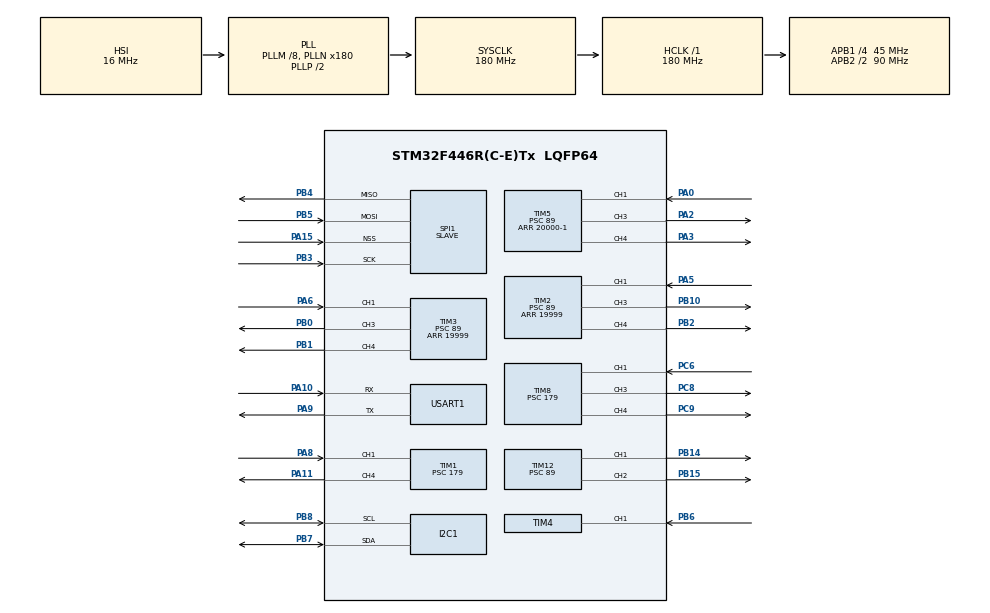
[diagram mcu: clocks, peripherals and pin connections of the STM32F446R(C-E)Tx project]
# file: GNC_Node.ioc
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FREERTOS.Tasks01=getPWM,24,256,getPWMTask,Default,NULL,Dynamic,NULL,NULL;BNOAccel,8,128,BNOAccelRun,Default,NULL,Dynamic,NULL,NULL;Print,9,256,PrintDebug,Default,NULL,Dynamic,NULL,NULL
I2C1.I2C_Mode=I2C_Fast
Mcu.Family=STM32F4
Mcu.Name=STM32F446R(C-E)Tx
Mcu.Package=LQFP64
NVIC.PriorityGroup=NVIC_PRIORITYGROUP_4
NVIC.SPI1_IRQn=true\:5\:0\:false\:false\:true\:true\:true\:true\:true
NVIC.TIM1_CC_IRQn=true\:5\:0\:false\:false\:true\:true\:true\:true\:true
NVIC.TIM4_IRQn=true\:5\:0\:false\:false\:true\:true\:true\:true\:true
PA0-WKUP.Signal=S_TIM5_CH1
PA1.Signal=S_TIM5_CH2
PA10.Mode=Asynchronous
PA10.Signal=USART1_RX
PA11.Signal=S_TIM1_CH4
PA13.Mode=Serial_Wire
PA13.Signal=SYS_JTMS-SWDIO
PA14.Mode=Serial_Wire
PA14.Signal=SYS_JTCK-SWCLK
PA15.Mode=NSS_Signal_Hard_Input
PA15.Signal=SPI1_NSS
PA2.Signal=S_TIM5_CH3
PA3.Signal=S_TIM5_CH4
PA5.Signal=S_TIM2_CH1_ETR
PA6.Signal=S_TIM3_CH1
PA7.Signal=S_TIM3_CH2
PA8.Signal=S_TIM1_CH1
PA9.Mode=Asynchronous
PA9.Signal=USART1_TX
PB0.Signal=S_TIM3_CH3
PB1.Signal=S_TIM3_CH4
PB10.Signal=S_TIM2_CH3
PB14.Signal=S_TIM12_CH1
PB15.Signal=S_TIM12_CH2
PB2.Signal=S_TIM2_CH4
PB3.Mode=Full_Duplex_Slave
PB3.Signal=SPI1_SCK
PB4.Mode=Full_Duplex_Slave
PB4.Signal=SPI1_MISO
PB5.Mode=Full_Duplex_Slave
PB5.Signal=SPI1_MOSI
PB6.Signal=S_TIM4_CH1
PB7.Mode=I2C
PB7.Signal=I2C1_SDA
PB8.Mode=I2C
PB8.Signal=I2C1_SCL
PB9.Signal=S_TIM2_CH2
PC14-OSC32_IN.Mode=LSE-External-Oscillator
PC14-OSC32_IN.Signal=RCC_OSC32_IN
PC15-OSC32_OUT.Mode=LSE-External-Oscillator
PC15-OSC32_OUT.Signal=RCC_OSC32_OUT
PC6.Signal=S_TIM8_CH1
PC8.Signal=S_TIM8_CH3
PC9.Signal=S_TIM8_CH4
PH0-OSC_IN.Mode=HSE-External-Oscillator
PH0-OSC_IN.Signal=RCC_OSC_IN
PH1-OSC_OUT.Mode=HSE-External-Oscillator
PH1-OSC_OUT.Signal=RCC_OSC_OUT
ProjectManager.HeapSize=0x200
ProjectManager.StackSize=0x400
ProjectManager.TargetToolchain=STM32CubeIDE
RCC.AHBFreq_Value=180000000
RCC.APB1CLKDivider=RCC_HCLK_DIV4
RCC.APB1Freq_Value=45000000
RCC.APB1TimFreq_Value=90000000
RCC.APB2CLKDivider=RCC_HCLK_DIV2
RCC.APB2Freq_Value=90000000
RCC.APB2TimFreq_Value=180000000
RCC.CortexFreq_Value=180000000
RCC.HCLKFreq_Value=180000000
RCC.PLLM=15
RCC.PLLN=216
RCC.PLLSourceVirtual=RCC_PLLSOURCE_HSE
RCC.SYSCLKFreq_VALUE=180000000
RCC.SYSCLKSource=RCC_SYSCLKSOURCE_PLLCLK
RCC.USBFreq_Value=180000000
RCC.VCOOutputFreq_Value=360000000
SH.S_TIM12_CH1.0=TIM12_CH1,PWM Generation1 CH1
SH.S_TIM12_CH2.0=TIM12_CH2,PWM Generation2 CH2
SH.S_TIM1_CH1.0=TIM1_CH1,Input_Capture1_from_TI1
SH.S_TIM1_CH4.0=TIM1_CH4,PWM Generation4 CH4
SH.S_TIM2_CH1_ETR.0=TIM2_CH1,PWM_Input_1
SH.S_TIM2_CH2.0=TIM2_CH2
SH.S_TIM2_CH3.0=TIM2_CH3,PWM Generation3 CH3
SH.S_TIM2_CH4.0=TIM2_CH4,PWM Generation4 CH4
SH.S_TIM3_CH1.0=TIM3_CH1,PWM_Input_1
SH.S_TIM3_CH2.0=TIM3_CH2
SH.S_TIM3_CH3.0=TIM3_CH3,PWM Generation3 CH3
SH.S_TIM3_CH4.0=TIM3_CH4,PWM Generation4 CH4
SH.S_TIM4_CH1.0=TIM4_CH1,Input_Capture1_from_TI1
SH.S_TIM5_CH1.0=TIM5_CH1,PWM_Input_1
SH.S_TIM5_CH2.0=TIM5_CH2
SH.S_TIM5_CH3.0=TIM5_CH3,PWM Generation3 CH3
SH.S_TIM5_CH4.0=TIM5_CH4,PWM Generation4 CH4
SH.S_TIM8_CH1.0=TIM8_CH1,PWM_Input_1
SH.S_TIM8_CH3.0=TIM8_CH3,PWM Generation3 CH3
SH.S_TIM8_CH4.0=TIM8_CH4,PWM Generation4 CH4
SPI1.CLKPhase=SPI_PHASE_2EDGE
SPI1.Direction=SPI_DIRECTION_2LINES
SPI1.Mode=SPI_MODE_SLAVE
SPI1.TIMode=SPI_TIMODE_DISABLE
SPI1.VirtualNSS=VM_NSSHARD
SPI1.VirtualType=VM_SLAVE
TIM1.Channel-Input_Capture1_from_TI1=TIM_CHANNEL_1
TIM1.Channel-PWM\ Generation4\ CH4=TIM_CHANNEL_4
TIM1.Period=19999
TIM1.Prescaler=179
TIM12.Channel-PWM\ Generation1\ CH1=TIM_CHANNEL_1
TIM12.Channel-PWM\ Generation2\ CH2=TIM_CHANNEL_2
TIM12.Period=19999
TIM12.Prescaler=89
TIM2.Channel-PWM\ Generation3\ CH3=TIM_CHANNEL_3
TIM2.Channel-PWM\ Generation4\ CH4=TIM_CHANNEL_4
TIM2.Period=19999
TIM2.Prescaler=89
TIM3.Channel-PWM\ Generation3\ CH3=TIM_CHANNEL_3
TIM3.Channel-PWM\ Generation4\ CH4=TIM_CHANNEL_4
TIM3.Period=19999
TIM3.Prescaler=89
TIM4.Channel-Input_Capture1_from_TI1=TIM_CHANNEL_1
TIM4.Period=19999
TIM4.Prescaler=89
TIM5.Channel-PWM\ Generation3\ CH3=TIM_CHANNEL_3
TIM5.Channel-PWM\ Generation4\ CH4=TIM_CHANNEL_4
TIM5.Period=20000-1
TIM5.Prescaler=89
TIM8.Channel-PWM\ Generation3\ CH3=TIM_CHANNEL_3
TIM8.Channel-PWM\ Generation4\ CH4=TIM_CHANNEL_4
TIM8.Prescaler=179
USART1.VirtualMode=VM_ASYNC
VP_FREERTOS_VS_CMSIS_V2.Mode=CMSIS_V2
VP_TIM12_VS_ClockSourceINT.Mode=Internal
VP_TIM1_VS_ClockSourceINT.Mode=Internal
VP_TIM2_VS_ClockSourceINT.Mode=Internal
VP_TIM3_VS_ClockSourceINT.Mode=Internal
VP_TIM4_VS_ClockSourceINT.Mode=Internal
VP_TIM5_VS_ClockSourceINT.Mode=Internal
VP_TIM8_VS_ClockSourceINT.Mode=Internal
board=custom

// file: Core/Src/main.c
/* USER CODE BEGIN Header */
/**
  ******************************************************************************
  * @file           : main.c
  * @brief          : Main program body
  ******************************************************************************
  * @attention
  *
  * Copyright (c) 2026 STMicroelectronics.
  * All rights reserved.
  *
  * This software is licensed under terms that can be found in the LICENSE file
  * in the root directory of this software component.
  * If no LICENSE file comes with this software, it is provided AS-IS.
  *
  ******************************************************************************
  */
/* USER CODE END Header */
#include "main.h"
#include "cmsis_os.h"
#include "i2c.h"
#include "spi.h"
#include "tim.h"
#include "usart.h"
#include "gpio.h"

/* USER CODE BEGIN Includes */
#include <stdlib.h>
#include <stdio.h>
#include <stdbool.h>
/* USER CODE END Includes */

/* USER CODE BEGIN PV */
uint8_t rx_data[8];
uint8_t tx_data[8];  // response (optional)

uint8_t counter = 0;

uint16_t varA = 0;
uint16_t varB = 0;

uint8_t flags = 0;
uint8_t checksum = 0;

// ---- 3. Validate checksum ----
uint8_t calc = 0;
bool connected = 0;

void HAL_SPI_TxRxCpltCallback(SPI_HandleTypeDef *hspi)
{
	if (hspi->Instance == SPI1)
    {
        // ---- 1. Validate header ----
    	//HAL_GPIO_TogglePin(GPIOC, GPIO_PIN_7);

            // ---- 2. Extract data ----
            counter = rx_data[1];

            varA = (rx_data[2] << 8) | rx_data[3];
            varB = (rx_data[4] << 8) | rx_data[5];

            flags = rx_data[6];
            checksum = rx_data[7];

            // ---- 3. Validate checksum ----
            calc = rx_data[0] ^ rx_data[1] ^ rx_data[2] ^ rx_data[3] ^
                           rx_data[4] ^ rx_data[5] ^ rx_data[6];

            if (calc != checksum){
            	connected = 0;
            }
            else{
            	connected = 1;
            }
        // ---- 4. Prepare response (optional) ----
        tx_data[0] = 0xB1;  // response header
        tx_data[1] = rx_data[1]; // echo counter (good for sync/debug)

        // ---- 5. RE-ARM SPI (CRITICAL) ----
        HAL_SPI_TransmitReceive_IT(&hspi1, tx_data, rx_data, 8);
    }
}

/* USER CODE END PV */

void SystemClock_Config(void);
void MX_FREERTOS_Init(void);

/* USER CODE BEGIN 0 */

//int _write(int file, char *ptr, int len)
//{
//    HAL_UART_Transmit(&huart1, (uint8_t *)ptr, len, HAL_MAX_DELAY);
//    return len;
//}

//typedef struct
//  {
//      uint32_t pulse_us;
//      uint32_t period_us;
//      float duty;
//
//      uint32_t last_update_tick;
//  } PWM_Channel_t;
//
//
//
//  #define PWM_CHANNELS 6
//  volatile PWM_Channel_t pwm[PWM_CHANNELS];

//  void HAL_TIM_IC_CaptureCallback(TIM_HandleTypeDef *htim)
//  {
//      uint32_t period, pulse;
//
//      if(htim->Channel != HAL_TIM_ACTIVE_CHANNEL_1)
//          return;
//
//      if(htim->Channel == HAL_TIM_ACTIVE_CHANNEL_1)
//      {
//          period = HAL_TIM_ReadCapturedValue(htim, TIM_CHANNEL_1);
//          pulse  = HAL_TIM_ReadCapturedValue(htim, TIM_CHANNEL_2);
//      }
//
//      if(period == 0) return;
//
//      uint8_t idx = 0xFF;
//
//      if(htim->Instance == TIM1) idx = 0;
//      else if(htim->Instance == TIM2) idx = 1;
//      else if(htim->Instance == TIM3) idx = 2;
//      else if(htim->Instance == TIM4) idx = 3;
//      else if(htim->Instance == TIM5) idx = 4;
//      else if(htim->Instance == TIM8) idx = 5;
//
//      if(idx < PWM_CHANNELS)
//      {
//          pwm[idx].pulse_us = pulse;   // assuming prescaler = 1 MHz
//          pwm[idx].period_us = period;
//          pwm[idx].duty = (float)pulse / (float)period;
//          //pwm[idx].last_update_tick = xTaskGetTickCountFromISR();
//      }
//  }

/* USER CODE END 0 */

int main(void)
{

  /* MCU Configuration--------------------------------------------------------*/

  /* Reset of all peripherals, Initializes the Flash interface and the Systick. */
  HAL_Init();

  /* USER CODE BEGIN Init */

//  float mapPWM(uint32_t pulse)
//  {
//      // Typical RC: 1000–2000 µs
//      return ((float)pulse - 1500.0f) / 500.0f; // → [-1, 1]
//  }

  /* USER CODE END Init */

  /* Configure the system clock */
  SystemClock_Config();

  /* Initialize all configured peripherals */
  MX_GPIO_Init();
  MX_USART1_UART_Init();
  MX_TIM2_Init();
  MX_TIM3_Init();
  MX_TIM5_Init();
  MX_TIM1_Init();
  MX_TIM4_Init();
  MX_TIM8_Init();
  MX_TIM12_Init();
  MX_I2C1_Init();
  MX_SPI1_Init();
  /* USER CODE BEGIN 2 */

  HAL_SPI_TransmitReceive_IT(&hspi1, tx_data, rx_data, 8);

  /* Start PWM input capture */

  HAL_TIM_IC_Start_IT(&htim1, TIM_CHANNEL_1);

  HAL_TIM_IC_Start_IT(&htim2, TIM_CHANNEL_1);
  HAL_TIM_IC_Start_IT(&htim2, TIM_CHANNEL_2);

  HAL_TIM_IC_Start_IT(&htim3, TIM_CHANNEL_1);
  HAL_TIM_IC_Start_IT(&htim3, TIM_CHANNEL_2);

  HAL_TIM_IC_Start_IT(&htim4, TIM_CHANNEL_1);

  HAL_TIM_IC_Start_IT(&htim5, TIM_CHANNEL_1);
  HAL_TIM_IC_Start_IT(&htim5, TIM_CHANNEL_2);

  HAL_TIM_IC_Start_IT(&htim8, TIM_CHANNEL_1);
  HAL_TIM_IC_Start_IT(&htim8, TIM_CHANNEL_2);

  //Inicialzação dos Emissores de PWM para os servos

  HAL_TIM_PWM_Start(&htim1, TIM_CHANNEL_4);

  HAL_TIM_PWM_Start(&htim2, TIM_CHANNEL_3);
  HAL_TIM_PWM_Start(&htim2, TIM_CHANNEL_4);

  HAL_TIM_PWM_Start(&htim3, TIM_CHANNEL_3);
  HAL_TIM_PWM_Start(&htim3, TIM_CHANNEL_4);

  HAL_TIM_PWM_Start(&htim5, TIM_CHANNEL_3);
  HAL_TIM_PWM_Start(&htim5, TIM_CHANNEL_4);

  HAL_TIM_PWM_Start(&htim8, TIM_CHANNEL_3);
  HAL_TIM_PWM_Start(&htim8, TIM_CHANNEL_4);

  HAL_TIM_PWM_Start(&htim12, TIM_CHANNEL_1);
  HAL_TIM_PWM_Start(&htim12, TIM_CHANNEL_2);

  //HAL_TIM_PWM_Start(&htim5, TIM_CHANNEL_3);

  //__HAL_TIM_SET_COMPARE(&htim3, TIM_CHANNEL_3, 910);

  CoreDebug->DEMCR |= CoreDebug_DEMCR_TRCENA_Msk; // Enable trace
  DWT->CYCCNT = 0;                                // Reset counter
  DWT->CTRL |= DWT_CTRL_CYCCNTENA_Msk;            // Enable cycle counter

  /* USER CODE END 2 */

  /* Init scheduler */
  osKernelInitialize();  /* Call init function for freertos objects (in cmsis_os2.c) */
  MX_FREERTOS_Init();

  /* Start scheduler */
  osKernelStart();

  /* We should never get here as control is now taken by the scheduler */

  /* Infinite loop */
  while (1)
  {

  }
}

void SystemClock_Config(void)
{
  RCC_OscInitTypeDef RCC_OscInitStruct = {0};
  RCC_ClkInitTypeDef RCC_ClkInitStruct = {0};

  /** Configure the main internal regulator output voltage
  */
  __HAL_RCC_PWR_CLK_ENABLE();
  __HAL_PWR_VOLTAGESCALING_CONFIG(PWR_REGULATOR_VOLTAGE_SCALE1);

  /** Initializes the RCC Oscillators according to the specified parameters
  * in the RCC_OscInitTypeDef structure.
  */
  RCC_OscInitStruct.OscillatorType = RCC_OSCILLATORTYPE_HSI;
  RCC_OscInitStruct.HSIState = RCC_HSI_ON;
  RCC_OscInitStruct.HSICalibrationValue = RCC_HSICALIBRATION_DEFAULT;
  RCC_OscInitStruct.PLL.PLLState = RCC_PLL_ON;
  RCC_OscInitStruct.PLL.PLLSource = RCC_PLLSOURCE_HSI;
  RCC_OscInitStruct.PLL.PLLM = 8;
  RCC_OscInitStruct.PLL.PLLN = 180;
  RCC_OscInitStruct.PLL.PLLP = RCC_PLLP_DIV2;
  RCC_OscInitStruct.PLL.PLLQ = 2;
  RCC_OscInitStruct.PLL.PLLR = 2;
  if (HAL_RCC_OscConfig(&RCC_OscInitStruct) != HAL_OK)
  {
    Error_Handler();
  }

  /** Activate the Over-Drive mode
  */
  if (HAL_PWREx_EnableOverDrive() != HAL_OK)
  {
    Error_Handler();
  }

  /** Initializes the CPU, AHB and APB buses clocks
  */
  RCC_ClkInitStruct.ClockType = RCC_CLOCKTYPE_HCLK|RCC_CLOCKTYPE_SYSCLK
                              |RCC_CLOCKTYPE_PCLK1|RCC_CLOCKTYPE_PCLK2;
  RCC_ClkInitStruct.SYSCLKSource = RCC_SYSCLKSOURCE_PLLCLK;
  RCC_ClkInitStruct.AHBCLKDivider = RCC_SYSCLK_DIV1;
  RCC_ClkInitStruct.APB1CLKDivider = RCC_HCLK_DIV4;
  RCC_ClkInitStruct.APB2CLKDivider = RCC_HCLK_DIV2;

  if (HAL_RCC_ClockConfig(&RCC_ClkInitStruct, FLASH_LATENCY_5) != HAL_OK)
  {
    Error_Handler();
  }
}

void Error_Handler(void)
{
  __disable_irq();
  while (1)
  {
  }
}

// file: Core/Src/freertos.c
/* USER CODE BEGIN Header */
/**
  ******************************************************************************
  * File Name          : freertos.c
  * Description        : Code for freertos applications
  ******************************************************************************
  * @attention
  *
  * Copyright (c) 2026 STMicroelectronics.
  * All rights reserved.
  *
  * This software is licensed under terms that can be found in the LICENSE file
  * in the root directory of this software component.
  * If no LICENSE file comes with this software, it is provided AS-IS.
  *
  ******************************************************************************
  */
/* USER CODE END Header */

#include "FreeRTOS.h"
#include "task.h"
#include "main.h"
#include "cmsis_os.h"

/* USER CODE BEGIN Includes */
#include <stdlib.h>
#include <stdio.h>
#include "usart.h"
#include "tim.h"
#include "math.h"
#include "i2c.h"
#include <stdbool.h>
#include "spi.h"
/* USER CODE END Includes */

/* USER CODE BEGIN PTD */
bool debug = 1;

int _write(int file, char *ptr, int len)
{
    HAL_UART_Transmit(&huart1, (uint8_t *)ptr, len, HAL_MAX_DELAY);
    return len;
}

extern uint8_t rx_data[8];
extern uint8_t tx_data[8];  // response (optional)

extern uint8_t counter;
extern bool connected;

volatile uint32_t rise = 0;
volatile uint32_t fall = 0;
volatile uint32_t pulse_width = 0;
volatile uint8_t is_rising = 1;

volatile uint32_t rise4 = 0;
volatile uint32_t fall4 = 0;
volatile uint32_t pulse_width4 = 0;
volatile uint8_t is_rising4 = 1;

void HAL_TIM_IC_CaptureCallback(TIM_HandleTypeDef *htim) //é melhor usar CASE e switch aqui
{

    if (htim->Instance == TIM1 &&
        htim->Channel == HAL_TIM_ACTIVE_CHANNEL_1)
    {
        uint32_t val = HAL_TIM_ReadCapturedValue(htim, TIM_CHANNEL_1);

        if (is_rising)
        {
            rise = val;

            // switch to falling edge
            __HAL_TIM_SET_CAPTUREPOLARITY(htim,
                                         TIM_CHANNEL_1,
                                         TIM_INPUTCHANNELPOLARITY_FALLING);

            is_rising = 0;
        }
        else
        {
            fall = val;

            // handle overflow
            if (fall >= rise)
                pulse_width = fall - rise;

            else
                pulse_width = (htim->Instance->ARR - rise + fall);

            // switch back to rising
            __HAL_TIM_SET_CAPTUREPOLARITY(htim,
                                         TIM_CHANNEL_1,
                                         TIM_INPUTCHANNELPOLARITY_RISING);

            is_rising = 1;
        }
    }

    if (htim->Instance == TIM4 &&
            htim->Channel == HAL_TIM_ACTIVE_CHANNEL_1)
        {
            uint32_t val = HAL_TIM_ReadCapturedValue(htim, TIM_CHANNEL_1);

            if (is_rising4)
            {
                rise4 = val;

                // switch to falling edge
                __HAL_TIM_SET_CAPTUREPOLARITY(htim,
                                             TIM_CHANNEL_1,
                                             TIM_INPUTCHANNELPOLARITY_FALLING);

                is_rising4 = 0;
            }
            else
            {
                fall4 = val;

                // handle overflow
                if (fall4 >= rise4)
                    pulse_width4 = fall4 - rise4;
                else
                    pulse_width4 = (htim->Instance->ARR - rise4 + fall4);

                // switch back to rising
                __HAL_TIM_SET_CAPTUREPOLARITY(htim,
                                             TIM_CHANNEL_1,
                                             TIM_INPUTCHANNELPOLARITY_RISING);

                is_rising4 = 1;
            }
        }

}

float s1 = 0;
float s2 = 0;

void PWM_set(void){

}

typedef struct
  {
      float pulse_us;
      float period_us;
      float duty;

      uint32_t last_update_tick;
  } PWM_Channel_t;

#define PWM_CHANNELS 6
volatile PWM_Channel_t pwm_read[PWM_CHANNELS];

uint8_t Buffer[25] = {0};
uint8_t Space[] = " - ";
uint8_t StartMSG[] = "Starting I2C Scanning: \r\n";
uint8_t EndMSG[] = "Done! \r\n\r\n";

void I2C_Scan(void)
{
    HAL_StatusTypeDef result;
    uint8_t i;

    printf("\r\n--- I2C SCAN START ---\r\n");

    for (i = 1; i < 128; i++)
    {
        result = HAL_I2C_IsDeviceReady(
                    &hi2c1,
                    (uint16_t)(i << 1),
                    2,
                    5);

        if (result == HAL_OK)
        {
            printf("I2C device found at address: 0x%02X\r\n", i);
        }
    }

    printf("--- I2C SCAN END ---\r\n");
}

typedef struct {
    float heading;
    float roll;
    float pitch;
} BNO055_Euler_t;

#define BNO055_ADDR (0x28 << 1)   // or 0x29 << 1 depending on ADR pin
#define BNO055_EULER_H_LSB 0x1A

BNO055_Euler_t BNO055_ReadEuler(I2C_HandleTypeDef *hi2c)
{
    uint8_t buffer[6];
    BNO055_Euler_t euler = {0};

    if (HAL_I2C_Mem_Read(hi2c,
                         BNO055_ADDR,
                         BNO055_EULER_H_LSB,
                         I2C_MEMADD_SIZE_8BIT,
                         buffer,
                         6,
                         100) != HAL_OK)
    {
        // optional: handle error here
        return euler;
    }

    int16_t heading_raw = (int16_t)((buffer[1] << 8) | buffer[0]);
    int16_t roll_raw    = (int16_t)((buffer[3] << 8) | buffer[2]);
    int16_t pitch_raw   = (int16_t)((buffer[5] << 8) | buffer[4]);

    euler.heading = heading_raw / 16.0f;
    euler.roll    = roll_raw    / 16.0f;
    euler.pitch   = pitch_raw   / 16.0f;

    return euler;
}

BNO055_Euler_t e;

  typedef struct
  {
      float Kp;
      float Ki;
      float Kd;

      float integrator;
      float prev_error;

      float output_min;
      float output_max;

      float dt;   // sampling time (seconds)
  } PID_t;

  PID_t roll_pid;
  PID_t pitch_pid;
  PID_t yaw_pid;
  PID_t thr_pid;

  float PID_Update(PID_t *pid, float setpoint, float measurement)
  {
      float error = setpoint - measurement;

      // Proportional
      float P = pid->Kp * error;

      // Integral (with anti-windup clamp)
      pid->integrator += pid->Ki * error * pid->dt;

      if(pid->integrator > pid->output_max)
          pid->integrator = pid->output_max;
      else if(pid->integrator < pid->output_min)
          pid->integrator = pid->output_min;

      // Derivative (on error)
      float derivative = (error - pid->prev_error) / pid->dt;
      float D = pid->Kd * derivative;

      // Total output
      float output = P + pid->integrator + D;

      // Output saturation
      if(output > pid->output_max)
          output = pid->output_max;
      else if(output < pid->output_min)
          output = pid->output_min;

      // Save state
      pid->prev_error = error;

      return output;
  }

/* USER CODE END PTD */

/* Definitions for getPWM */
osThreadId_t getPWMHandle;
const osThreadAttr_t getPWM_attributes = {
  .name = "getPWM",
  .stack_size = 256 * 4,
  .priority = (osPriority_t) osPriorityNormal,
};
/* Definitions for BNOAccel */
osThreadId_t BNOAccelHandle;
const osThreadAttr_t BNOAccel_attributes = {
  .name = "BNOAccel",
  .stack_size = 128 * 4,
  .priority = (osPriority_t) osPriorityLow,
};
/* Definitions for Print */
osThreadId_t PrintHandle;
const osThreadAttr_t Print_attributes = {
  .name = "Print",
  .stack_size = 256 * 4,
  .priority = (osPriority_t) osPriorityLow1,
};

void getPWMTask(void *argument);
void BNOAccelRun(void *argument);
void PrintDebug(void *argument);

void MX_FREERTOS_Init(void); /* (MISRA C 2004 rule 8.1) */

void MX_FREERTOS_Init(void) {

  /* Create the thread(s) */
  /* creation of getPWM */
  getPWMHandle = osThreadNew(getPWMTask, NULL, &getPWM_attributes);

  /* creation of BNOAccel */
  BNOAccelHandle = osThreadNew(BNOAccelRun, NULL, &BNOAccel_attributes);

  /* creation of Print */
  PrintHandle = osThreadNew(PrintDebug, NULL, &Print_attributes);

}

void getPWMTask(void *argument)
{
  /* USER CODE BEGIN getPWMTask */
	int x = 0;

  /* Infinite loop */
  for(;;)
  {

	  x++;
	  if (x == 1000){
		  x = 0;
	  }
	  s1 = 10000*sinf(2 * M_PI * 15 * x / 1000);
	  s2 = 500*sinf(2 * M_PI * 2 * x / 1000);

	  __HAL_TIM_SET_COMPARE(&htim3, TIM_CHANNEL_3, (1500 + s2));
	  __HAL_TIM_SET_COMPARE(&htim2, TIM_CHANNEL_4, (10000 + s1));

	  pwm_read[0].period_us = 20000;
	  pwm_read[0].pulse_us = pulse_width4;
	  pwm_read[0].duty = pwm_read[0].pulse_us/pwm_read[0].period_us;

	  pwm_read[1].period_us = 20000;
	  pwm_read[1].pulse_us = pulse_width;
	  pwm_read[1].duty = pwm_read[1].pulse_us/pwm_read[1].period_us;

	  pwm_read[2].period_us = 20000;
	  pwm_read[2].pulse_us = HAL_TIM_ReadCapturedValue(&htim8, TIM_CHANNEL_2);
	  pwm_read[2].duty = pwm_read[2].pulse_us/pwm_read[2].period_us;

	  pwm_read[3].period_us = 20000;
	  pwm_read[3].pulse_us = HAL_TIM_ReadCapturedValue(&htim3, TIM_CHANNEL_2);
	  pwm_read[3].duty = pwm_read[3].pulse_us/pwm_read[3].period_us;

	  pwm_read[4].period_us = 20000;
	  pwm_read[4].pulse_us = HAL_TIM_ReadCapturedValue(&htim2, TIM_CHANNEL_2);
	  pwm_read[4].duty = pwm_read[4].pulse_us/pwm_read[4].period_us;

	  pwm_read[5].period_us = 20000;
	  pwm_read[5].pulse_us = HAL_TIM_ReadCapturedValue(&htim5, TIM_CHANNEL_2);
	  pwm_read[5].duty = pwm_read[5].pulse_us/pwm_read[5].period_us;

	  //printf("CONTROLE\r\n");

	  osDelay(20);
  }
  /* USER CODE END getPWMTask */
}

void BNOAccelRun(void *argument)
{
  /* USER CODE BEGIN BNOAccelRun */
	//bno055_assignI2C(&hi2c1);
	//bno055_setup();
	//bno055_setOperationModeNDOF();

	// after power-up
	osDelay(700);

	// config mode
	uint8_t mode = 0x00;
	HAL_I2C_Mem_Write(&hi2c1, BNO055_ADDR, 0x3D, 1, &mode, 1, 100);
	osDelay(20);

	// NDOF mode
	mode = 0x0C;
	HAL_I2C_Mem_Write(&hi2c1, BNO055_ADDR, 0x3D, 1, &mode, 1, 100);
	osDelay(20);

  /* Infinite loop */
  for(;;)
  {

	  if(connected == 0){
		  e = BNO055_ReadEuler(&hi2c1);
		  e.pitch = e.pitch*(-1);
	  }
	  //I2C_Scan();
	//bno055_vector_t v = bno055_getVectorEuler();
	//printf("\n >Heading:%.2f \n>Roll:%.2f\n>Pitch:%.2f\r\n", v.x, v.y, v.z);
    osDelay(10);
  }
  /* USER CODE END BNOAccelRun */
}

void PrintDebug(void *argument)
{
  /* USER CODE BEGIN PrintDebug */
  if (debug == 1){
  /* Infinite loop */
  for(;;)
  {
	  printf(">duty0:%.5f\r\n", pwm_read[0].duty);
	  printf(">duty1:%.5f\r\n", pwm_read[1].duty);
	  printf(">duty2:%.3f\r\n", pwm_read[2].duty);
	  printf(">duty3:%.3f\r\n", pwm_read[3].duty);
	  printf(">duty4:%.3f\r\n", pwm_read[4].duty);
	  printf(">duty5:%.5f\r\n", pwm_read[5].duty);

	  printf(">sin2:%.5f\r\n", 1500 + s2);
	  printf(">sin1:%.5f\r\n", 1500 + s1);
	  printf(">counter:%d\r\n", counter);
//	  printf("\nRX: ");
//	  for (int i = 0; i < 8; i++)
//	  {
//	      printf("%02X ", rx_data[i]);
//	  }
//	  printf("\r\n");
	  printf("\n\r\n>H:%.2f\r\n>R:%.2f\r\n>P:%.2f\r\n\n", e.heading, e.roll, e.pitch);

	  osDelay(20);
  }}
  else{
	  osDelay(100000);
  }
  /* USER CODE END PrintDebug */
}
